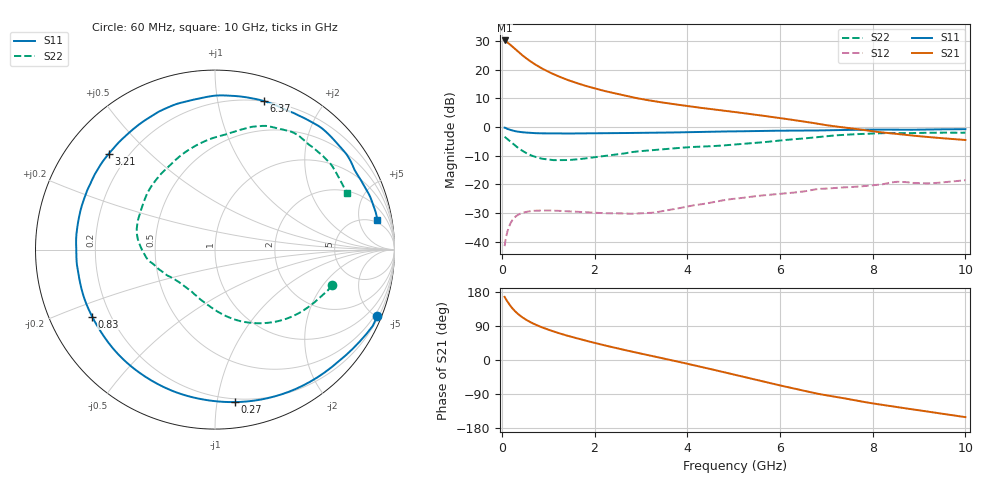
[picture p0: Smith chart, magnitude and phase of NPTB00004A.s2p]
! Nitronex, LLC.
! NPTB00004A 4W, 28V, GaN on Si
! Vdd = 28V, Idq = 250mA
! 21 December 2013
! 2 Port S-Parameters, de-embeded to device plane edge and lead width
! File format is Touchstone s2p
! Technical support available at:  sales@nitronex.com
# Hz S RI R 50
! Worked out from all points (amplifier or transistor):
!   995 points, 60 MHz to 10 GHz, reference 50 ohm
!   highest |S21| = 30.2 dB at 60 MHz (marker M1)
!   |S21| within 3 dB of that: start of sweep to 287.4 MHz
!   unconditionally stable (mu >= 1): 1.902 GHz to 5.436 GHz
!   at 1.71 GHz: K = 0.90, MSG = 22.3 dB, |S12| = -29.6 dB
!   at 5.03 GHz: K = 1.07, MAG = 13.5 dB, |S12| = -25.0 dB
!   at 10 GHz: K = 0.50, MSG = 7.0 dB, |S12| = -18.5 dB
!   S11 on the Smith chart (normalised r, x): 60 MHz: 0.30, -5.04; 270 MHz: 0.18, -1.12; 830 MHz: 0.13, -0.25; 3.21 GHz: 0.13, +0.38; 6.37 GHz: 0.20, +1.36; 10 GHz: 4, +9
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6e7  0.9039 -0.3716  -31.53 7.505  0.00273 0.00794  0.6495 -0.1976
1e8  0.7679 -0.552  -28.57 11.45  0.00512 0.0119  0.5728 -0.2784
1.3e8  0.6506 -0.6545  -26.16 13.62  0.00767 0.014  0.5164 -0.3227
1.7e8  0.4896 -0.7577  -22.89 15.78  0.0112 0.0162  0.4408 -0.3676
2.2e8  0.2907 -0.8284  -18.93 17.33  0.0155 0.0175  0.3491 -0.3992
2.7e8  0.1101 -0.8496  -15.38 17.93  0.0193 0.0178  0.2679 -0.41
3.2e8  -0.0449 -0.8386  -12.34 17.89  0.0226 0.0174  0.1996 -0.4081
3.8e8  -0.1983 -0.8015  -9.362 17.36  0.0257 0.0163  0.134 -0.3967
5e8  -0.4158 -0.6894  -5.092 15.64  0.0299 0.0137  0.0414 -0.3605
6.5e8  -0.5802 -0.5361  -1.836 13.33  0.0328 0.0105  -0.0292 -0.3162
8.3e8  -0.6842 -0.3739  0.3901 10.94  0.0344 0.00709  -0.0867 -0.2725
9.9e8  -0.7345 -0.2524  1.53 9.227  0.0348 0.00485  -0.1184 -0.2453
1.19e9  -0.7623 -0.1276  2.391 7.518  0.0346 0.00259  -0.151 -0.2185
1.72e9  -0.768 0.1189  3.249 4.451  0.0329 -0.000345  -0.2234 -0.167
2.38e9  -0.7129 0.3281  3.298 2.22  0.0315 -4.87e-05  -0.3074 -0.1134
3.21e9  -0.5926 0.533  2.838 0.5682  0.0317 0.00357  -0.392 -0.0279
3.38e9  -0.5612 0.5703  2.732 0.3293  0.0329 0.0052  -0.4032 -0.00812
5.03e9  -0.1411 0.8301  1.421 -1.153  0.0565 -0.000298  -0.3619 0.3415
6.37e9  0.2707 0.828  0.2919 -1.267  0.0691 -0.024  -0.0107 0.6219
6.69e9  0.3658 0.7921  0.0853 -1.186  0.0735 -0.032  0.0795 0.6482
8.35e9  0.753 0.4979  -0.4042 -0.6709  0.0645 -0.0845  0.4652 0.6352
1e10  0.9047 0.165  -0.5199 -0.291  0.0207 -0.1164  0.7345 0.3161
